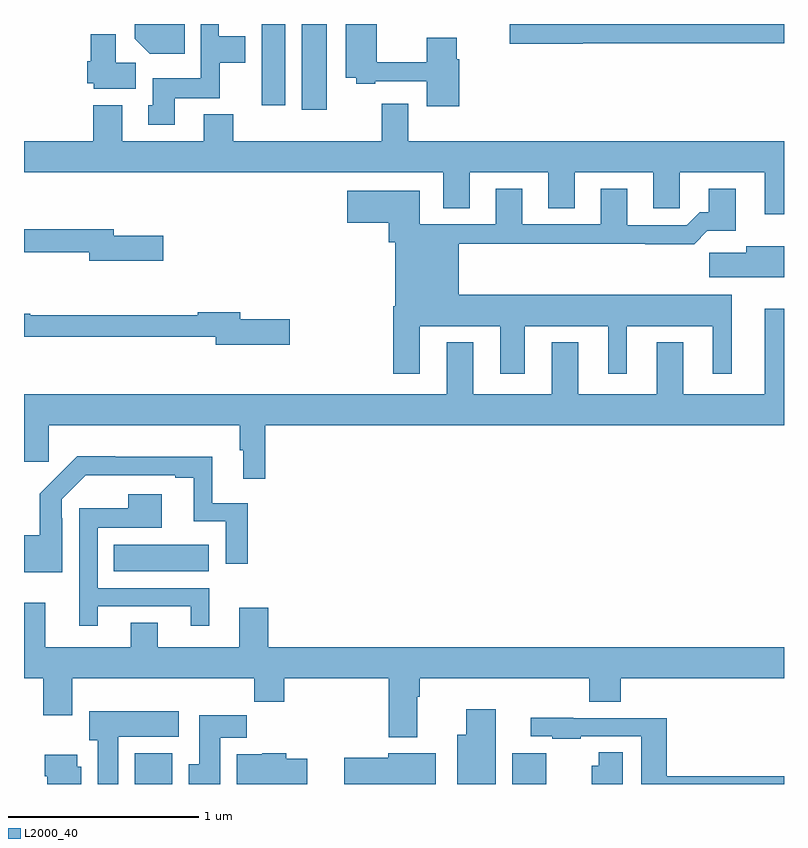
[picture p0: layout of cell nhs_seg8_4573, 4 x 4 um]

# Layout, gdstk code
import gdstk
lib = gdstk.Library(unit=1e-6, precision=1e-09)
def R(c, l, rs):  # rectangles x0, y0, x1, y1
    for r in rs: c.add(gdstk.rectangle(r[:2], r[2:], *l))
def P(c, l, *ps):  # polygons
    for p in ps: c.add(gdstk.Polygon(p, *l))
L2000_40 = (2000, 40)

nhs_seg8_4573 = lib.new_cell('nhs_seg8_4573')
R(nhs_seg8_4573, L2000_40, [(387.584,1159.9,387.781,1160.062), (389.57,1159.9,389.749,1160.062), (387.472,1161.02,387.973,1161.16), (388.463,1163.448,388.594,1163.9), (388.25,1163.472,388.375,1163.9)])
P(nhs_seg8_4573, L2000_40, [(389.94,1163.8),(391,1163.8),(391,1163.9),(389.556,1163.9),(389.556,1163.795),(389.94,1163.795)],
  [(387.845,1163.9),(387.584,1163.9),(387.584,1163.822),(387.662,1163.744),(387.845,1163.744)],
  [(389.291,1163.714),(389.278,1163.714),(389.278,1163.827),(389.12,1163.827),(389.12,1163.699),(388.856,1163.699),(388.856,1163.9),(388.694,1163.9),(388.694,1163.618),(388.749,1163.618),(388.749,1163.586),(388.849,1163.586),(388.849,1163.598),(389.12,1163.598),(389.12,1163.466),(389.291,1163.466)],
  [(387.793,1163.51),(388.029,1163.51),(388.029,1163.696),(388.165,1163.696),(388.165,1163.836),(388.026,1163.836),(388.026,1163.9),(387.93,1163.9),(387.93,1163.614),(387.677,1163.614),(387.677,1163.472),(387.653,1163.472),(387.653,1163.37),(387.793,1163.37)],
  [(387.589,1163.696),(387.484,1163.696),(387.484,1163.845),(387.35,1163.845),(387.35,1163.703),(387.332,1163.703),(387.332,1163.589),(387.366,1163.589),(387.366,1163.558),(387.589,1163.558)],
  [(389.207,1162.93),(389.347,1162.93),(389.347,1163.12),(389.759,1163.12),(389.759,1162.93),(389.899,1162.93),(389.899,1163.12),(390.311,1163.12),(390.311,1162.93),(390.45,1162.93),(390.45,1163.12),(390.899,1163.12),(390.899,1162.899),(391,1162.899),(391,1163.284),(389.023,1163.284),(389.023,1163.479),(388.883,1163.479),(388.883,1163.284),(388.1,1163.284),(388.1,1163.425),(387.947,1163.425),(387.947,1163.284),(387.517,1163.284),(387.517,1163.473),(387.365,1163.473),(387.365,1163.284),(387,1163.284),(387,1163.12),(389.207,1163.12)],
  [(389.083,1162.31),(389.507,1162.31),(389.507,1162.059),(389.635,1162.059),(389.635,1162.31),(390.074,1162.31),(390.074,1162.059),(390.172,1162.059),(390.172,1162.31),(390.626,1162.31),(390.626,1162.059),(390.724,1162.059),(390.724,1162.474),(389.287,1162.474),(389.287,1162.744),(390.271,1162.744),(390.271,1162.742),(390.527,1162.742),(390.596,1162.811),(390.745,1162.811),(390.745,1163.032),(390.605,1163.032),(390.605,1162.909),(390.556,1162.909),(390.489,1162.842),(390.175,1162.842),(390.175,1163.032),(390.035,1163.032),(390.035,1162.845),(389.623,1162.845),(389.623,1163.032),(389.483,1163.032),(389.483,1162.845),(389.083,1162.845),(389.083,1163.023),(388.701,1163.023),(388.701,1162.853),(388.919,1162.853),(388.919,1162.752),(388.955,1162.752),(388.955,1162.414),(388.943,1162.414),(388.943,1162.059),(389.083,1162.059)],
  [(387.733,1162.785),(387.472,1162.785),(387.472,1162.819),(387,1162.819),(387,1162.698),(387.344,1162.698),(387.344,1162.655),(387.733,1162.655)],
  [(391,1162.729),(390.8,1162.729),(390.8,1162.697),(390.606,1162.697),(390.606,1162.568),(391,1162.568)],
  [(388.271,1161.788),(391,1161.788),(391,1162.402),(390.899,1162.402),(390.899,1161.952),(390.469,1161.952),(390.469,1162.225),(390.329,1162.225),(390.329,1161.952),(389.917,1161.952),(389.917,1162.225),(389.777,1162.225),(389.777,1161.952),(389.365,1161.952),(389.365,1162.225),(389.225,1162.225),(389.225,1161.952),(387,1161.952),(387,1161.597),(387.131,1161.597),(387.131,1161.788),(388.135,1161.788),(388.135,1161.656),(388.154,1161.656),(388.154,1161.507),(388.271,1161.507)],
  [(388.399,1162.346),(388.138,1162.346),(388.138,1162.382),(387.914,1162.382),(387.914,1162.367),(387.034,1162.367),(387.034,1162.375),(387,1162.375),(387,1162.254),(388.01,1162.254),(388.01,1162.211),(388.399,1162.211)],
  [(387.201,1161.299),(387.198,1161.299),(387.198,1161.399),(387.324,1161.525),(387.797,1161.525),(387.797,1161.513),(387.893,1161.513),(387.893,1161.282),(388.062,1161.282),(388.062,1161.06),(388.178,1161.06),(388.178,1161.378),(387.991,1161.378),(387.991,1161.622),(387.479,1161.622),(387.479,1161.625),(387.28,1161.625),(387.083,1161.427),(387.083,1161.208),(387,1161.208),(387,1161.014),(387.201,1161.014)],
  [(387.388,1160.835),(387.878,1160.835),(387.878,1160.733),(387.976,1160.733),(387.976,1160.931),(387.387,1160.931),(387.387,1161.248),(387.724,1161.248),(387.724,1161.424),(387.548,1161.424),(387.548,1161.352),(387.291,1161.352),(387.291,1160.733),(387.388,1160.733)],
  [(389.071,1160.36),(389.084,1160.36),(389.084,1160.456),(389.975,1160.456),(389.975,1160.332),(390.14,1160.332),(390.14,1160.456),(391,1160.456),(391,1160.62),(388.286,1160.62),(388.286,1160.827),(388.133,1160.827),(388.133,1160.62),(387.703,1160.62),(387.703,1160.75),(387.563,1160.75),(387.563,1160.62),(387.113,1160.62),(387.113,1160.854),(387,1160.854),(387,1160.456),(387.101,1160.456),(387.101,1160.262),(387.253,1160.262),(387.253,1160.456),(388.213,1160.456),(388.213,1160.332),(388.37,1160.332),(388.37,1160.456),(388.919,1160.456),(388.919,1160.147),(389.071,1160.147)],
  [(389.482,1160.293),(389.327,1160.293),(389.327,1160.158),(389.279,1160.158),(389.279,1159.9),(389.482,1159.9)],
  [(387.496,1160.15),(387.814,1160.15),(387.814,1160.284),(387.344,1160.284),(387.344,1160.13),(387.389,1160.13),(387.389,1159.9),(387.496,1159.9)],
  [(388.033,1160.144),(388.172,1160.144),(388.172,1160.263),(387.923,1160.263),(387.923,1160.004),(387.866,1160.004),(387.866,1159.9),(388.033,1159.9)],
  [(391,1159.94),(390.383,1159.94),(390.383,1160.247),(389.891,1160.247),(389.891,1160.249),(389.667,1160.249),(389.667,1160.151),(389.779,1160.151),(389.779,1160.139),(389.93,1160.139),(389.93,1160.151),(390.248,1160.151),(390.248,1159.9),(391,1159.9)],
  [(390.151,1160.066),(390.026,1160.066),(390.026,1159.996),(389.987,1159.996),(389.987,1159.9),(390.151,1159.9)],
  [(389.167,1160.062),(388.916,1160.062),(388.916,1160.037),(388.686,1160.037),(388.686,1159.9),(389.167,1159.9)],
  [(388.492,1160.034),(388.38,1160.034),(388.38,1160.062),(388.254,1160.062),(388.254,1160.056),(388.121,1160.056),(388.121,1159.9),(388.492,1159.9)],
  [(387.301,1159.992),(387.28,1159.992),(387.28,1160.053),(387.11,1160.053),(387.11,1159.94),(387.122,1159.94),(387.122,1159.9),(387.301,1159.9)])

lib.write_gds('nhs_seg8_4573.gds')
